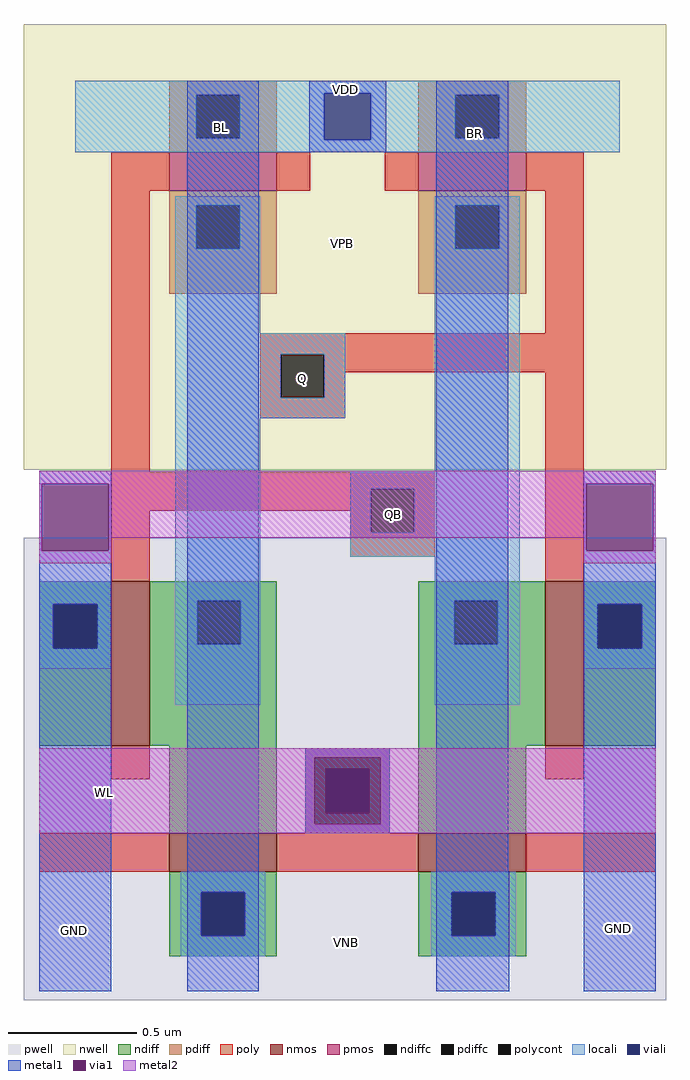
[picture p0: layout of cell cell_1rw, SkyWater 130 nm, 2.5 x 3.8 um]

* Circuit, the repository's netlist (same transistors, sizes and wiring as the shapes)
* NGSPICE file created from cell_1rw.ext - technology: sky130A

.subckt cell_1rw GND WL Q QB BL BR VDD VNB VPB
X0 Q WL BL VNB sky130_fd_pr__nfet_01v8 ad=4.596e+11p pd=2.95e+06u as=1.386e+11p ps=1.5e+06u w=420000u l=150000u
X1 VDD QB Q VPB sky130_fd_pr__pfet_01v8 ad=2.352e+11p pd=2.8e+06u as=1.68e+11p ps=1.64e+06u w=420000u l=150000u
X2 QB WL BR VNB sky130_fd_pr__nfet_01v8 ad=4.596e+11p pd=2.95e+06u as=1.386e+11p ps=1.5e+06u w=420000u l=150000u
X3 Q QB GND VNB sky130_fd_pr__nfet_01v8 ad=0p pd=0u as=3.584e+11p ps=3.68e+06u w=640000u l=150000u
X4 GND Q QB VNB sky130_fd_pr__nfet_01v8 ad=0p pd=0u as=0p ps=0u w=640000u l=150000u
X5 VDD Q QB VPB sky130_fd_pr__pfet_01v8 ad=0p pd=0u as=1.68e+11p ps=1.64e+06u w=420000u l=150000u
.ends

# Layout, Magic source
magic
tech sky130A
magscale 1 2
<< nwell >>
rect -100 -217 400 130
<< pwell >>
rect -100 -630 400 -270
<< nmos >>
rect -32 -432 -2 -304
rect 306 -432 336 -304
rect 13 -530 97 -500
rect 207 -530 291 -500
<< pmos >>
rect 13 0 97 30
rect 207 0 291 30
<< ndiff >>
rect -88 -322 -32 -304
rect -88 -356 -77 -322
rect -43 -356 -32 -322
rect -88 -432 -32 -356
rect -2 -319 97 -304
rect -2 -353 35 -319
rect 69 -353 97 -319
rect -2 -432 97 -353
rect 13 -500 97 -432
rect 207 -319 306 -304
rect 207 -353 235 -319
rect 269 -353 306 -319
rect 207 -432 306 -353
rect 336 -322 392 -304
rect 336 -356 347 -322
rect 381 -356 392 -322
rect 336 -432 392 -356
rect 207 -500 291 -432
rect 13 -546 97 -530
rect 13 -580 38 -546
rect 72 -580 97 -546
rect 13 -596 97 -580
rect 207 -546 291 -530
rect 207 -580 233 -546
rect 267 -580 291 -546
rect 207 -596 291 -580
<< pdiff >>
rect 13 75 97 86
rect 13 41 34 75
rect 68 41 97 75
rect 13 30 97 41
rect 207 75 291 86
rect 207 41 236 75
rect 270 41 291 75
rect 207 30 291 41
rect 13 -11 97 0
rect 13 -45 34 -11
rect 68 -45 97 -11
rect 13 -80 97 -45
rect 207 -11 291 0
rect 207 -45 236 -11
rect 270 -45 291 -11
rect 207 -80 291 -45
<< ndiffc >>
rect -77 -356 -43 -322
rect 35 -353 69 -319
rect 235 -353 269 -319
rect 347 -356 381 -322
rect 38 -580 72 -546
rect 233 -580 267 -546
<< pdiffc >>
rect 34 41 68 75
rect 236 41 270 75
rect 34 -45 68 -11
rect 236 -45 270 -11
<< poly >>
rect -32 0 13 30
rect 97 0 123 30
rect 181 0 207 30
rect 291 0 336 30
rect -32 -219 -2 0
rect 306 -111 336 0
rect 84 -127 336 -111
rect 84 -161 100 -127
rect 134 -141 336 -127
rect 134 -161 150 -141
rect 84 -177 150 -161
rect -32 -232 220 -219
rect -32 -249 170 -232
rect -32 -304 -2 -249
rect 154 -266 170 -249
rect 204 -266 220 -232
rect 154 -285 220 -266
rect 306 -304 336 -141
rect -32 -458 -2 -432
rect 119 -450 185 -434
rect 119 -484 135 -450
rect 169 -484 185 -450
rect 119 -500 185 -484
rect 306 -458 336 -432
rect -88 -530 13 -500
rect 97 -530 207 -500
rect 291 -530 392 -500
<< polycont >>
rect 100 -161 134 -127
rect 170 -266 204 -232
rect 135 -484 169 -450
<< locali >>
rect -60 76 364 86
rect -60 75 134 76
rect -60 41 34 75
rect 68 41 134 75
rect -60 40 134 41
rect 170 75 364 76
rect 170 41 236 75
rect 270 41 364 75
rect 170 40 364 41
rect -60 30 364 40
rect 18 -11 84 -4
rect 18 -45 34 -11
rect 68 -45 84 -11
rect 18 -111 84 -45
rect 220 -11 286 -4
rect 220 -45 236 -11
rect 270 -45 286 -11
rect 18 -127 150 -111
rect 18 -161 100 -127
rect 134 -161 150 -127
rect 18 -177 150 -161
rect -88 -322 -32 -304
rect -88 -356 -77 -322
rect -43 -356 -32 -322
rect -88 -372 -32 -356
rect 18 -319 84 -177
rect 220 -219 286 -45
rect 154 -232 286 -219
rect 154 -266 170 -232
rect 204 -266 286 -232
rect 154 -285 286 -266
rect 18 -353 35 -319
rect 69 -353 84 -319
rect 18 -400 84 -353
rect 220 -319 286 -285
rect 220 -353 235 -319
rect 269 -353 286 -319
rect 220 -400 286 -353
rect 336 -322 392 -304
rect 336 -356 347 -322
rect 381 -356 392 -322
rect 336 -372 392 -356
rect 119 -450 185 -434
rect 119 -484 135 -450
rect 169 -484 185 -450
rect 119 -500 185 -484
rect 22 -546 88 -530
rect 22 -580 38 -546
rect 72 -580 88 -546
rect 22 -596 88 -580
rect 217 -546 283 -530
rect 217 -580 233 -546
rect 267 -580 283 -546
rect 217 -596 283 -580
<< viali >>
rect 134 40 170 76
rect -77 -356 -43 -322
rect 347 -356 381 -322
rect 135 -484 169 -450
rect 38 -580 72 -546
rect 233 -580 267 -546
<< metal1 >>
rect -88 -228 -32 -218
rect -88 -280 -86 -228
rect -34 -280 -32 -228
rect -88 -322 -32 -280
rect -88 -356 -77 -322
rect -43 -356 -32 -322
rect -88 -623 -32 -356
rect 27 -546 83 86
rect 122 76 182 86
rect 122 40 134 76
rect 170 40 182 76
rect 122 30 182 40
rect 119 -441 185 -434
rect 119 -493 126 -441
rect 178 -493 185 -441
rect 119 -500 185 -493
rect 27 -580 38 -546
rect 72 -580 83 -546
rect 27 -623 83 -580
rect 221 -530 277 86
rect 336 -228 392 -218
rect 336 -280 338 -228
rect 390 -280 392 -228
rect 336 -322 392 -280
rect 336 -356 347 -322
rect 381 -356 392 -322
rect 221 -546 278 -530
rect 221 -580 233 -546
rect 267 -580 278 -546
rect 221 -623 278 -580
rect 336 -623 392 -356
<< via1 >>
rect -86 -280 -34 -228
rect 126 -450 178 -441
rect 126 -484 135 -450
rect 135 -484 169 -450
rect 169 -484 178 -450
rect 126 -493 178 -484
rect 338 -280 390 -228
<< metal2 >>
rect -88 -228 392 -218
rect -88 -280 -86 -228
rect -34 -270 338 -228
rect -34 -280 -32 -270
rect -88 -290 -32 -280
rect 336 -280 338 -270
rect 390 -280 392 -228
rect 336 -290 392 -280
rect -88 -441 392 -434
rect -88 -493 126 -441
rect 178 -493 392 -441
rect -88 -500 392 -493
<< labels >>
rlabel locali 94 -167 140 -125 1 Q
port 3 n
rlabel locali 163 -276 213 -228 1 QB
port 4 n
rlabel metal2 -84 -492 9 -445 1 WL
port 2 n
rlabel metal1 -83 -616 -39 -535 1 GND
port 1 n
rlabel metal1 341 -615 385 -534 1 GND
port 1 n
rlabel metal1 226 11 275 78 1 BR
port 6 n
rlabel metal1 30 19 78 80 1 BL
port 5 n
rlabel metal1 150 79 150 79 1 VDD
port 7 n
rlabel pwell 151 -585 151 -585 1 VNB
port 8 n
rlabel nwell 148 -41 148 -41 1 VPB
port 9 n
<< properties >>
string FIXED_BBOX -60 -623 364 58
<< end >>
